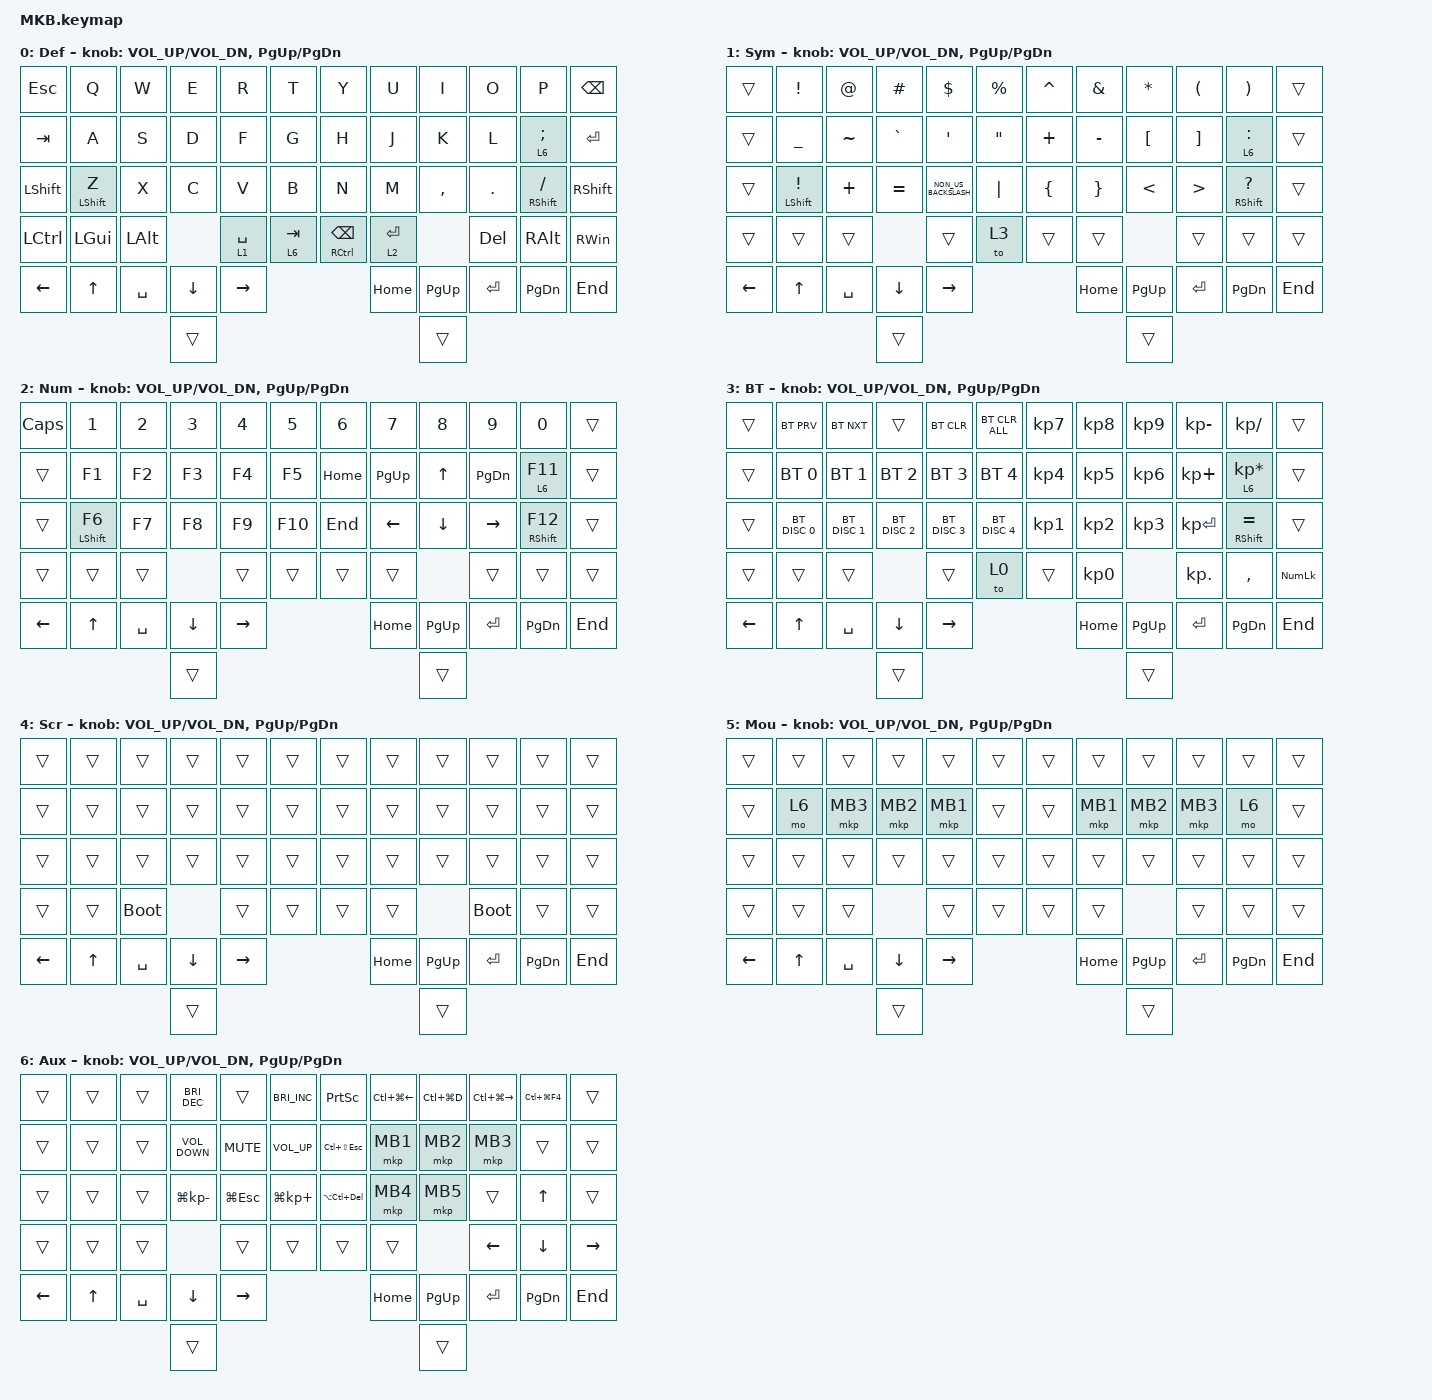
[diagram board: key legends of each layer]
// #include <layout_shift.dtsi>

#include <layout_shift_kp_override.dtsi>
#include <behaviors.dtsi>
#include <dt-bindings/zmk/bt.h>
#include <dt-bindings/zmk/keys.h>
#include <dt-bindings/zmk/pointing.h>

#define DEF 0
#define FUNC 1
#define NUM 2
#define MOUSE 3
#define SCROLL 4
#define BT 5

&mt {
    flavor = "balanced";
    tapping-term-ms = <280>;
    quick-tap-ms = <175>;
    require-prior-idle-ms = <150>;
};

/ {
    combos {
        compatible = "zmk,combos";

        scroll {
            bindings = <&mo 4>;
            key-positions = <20 21>;
        };

        esc {
            bindings = <&kp ESCAPE>;
            key-positions = <1 2>;
        };

        tab {
            bindings = <&kp TAB>;
            key-positions = <13 14>;
        };

        s-tab {
            bindings = <&kp LS(TAB)>;
            key-positions = <26 25>;
        };

        bs {
            bindings = <&kp BACKSPACE>;
            key-positions = <10 9>;
        };

        del {
            bindings = <&kp DELETE>;
            key-positions = <9 8>;
        };

        enter {
            bindings = <&kp ENTER>;
            key-positions = <21 22>;
        };

        eisu {
            bindings = <&kp LANGUAGE_2>;
            key-positions = <15 16>;
        };

        kana {
            bindings = <&kp LANGUAGE_1>;
            key-positions = <20 19>;
        };
    };

    keymap {
        compatible = "zmk,keymap";

        Default {
            label = "Def";
            bindings = <
&kp ESCAPE  &kp Q        &kp W      &kp E     &kp R        &kp T          &kp Y                &kp U        &kp I      &kp O       &kp P             &kp BACKSPACE
&kp TAB     &kp A        &kp S      &kp D     &kp F        &kp G          &kp H                &kp J        &kp K      &kp L       &lt 6 SEMICOLON   &kp ENTER
&kp LSHFT   &mt LSHFT Z  &kp X      &kp C     &kp V        &kp B          &kp N                &kp M        &kp COMMA  &kp DOT     &mt RSHIFT SLASH  &kp RSHFT
&kp LCTRL   &kp LGUI     &kp LALT             &lt 1 SPACE  &lt 6 TAB      &mt RCTRL BACKSPACE  &lt 2 ENTER             &kp DELETE  &kp RIGHT_ALT     &kp RWIN
&kp LEFT    &kp UP       &kp SPACE  &kp DOWN  &kp RIGHT                                        &kp HOME     &kp PG_UP  &kp ENTER   &kp PG_DN         &kp END
                                    &trans                                                                  &trans
            >;

            sensor-bindings = <&inc_dec_kp C_VOL_UP C_VOL_DN &inc_dec_kp PG_UP PG_DN>;
        };

        Symbol {
            label = "Sym";
            bindings = <
&trans    &kp EXCLAMATION        &kp AT_SIGN  &kp HASH   &kp DOLLAR            &kp PERCENT            &kp CARET       &kp AMPERSAND    &kp ASTERISK      &kp LEFT_PARENTHESIS  &kp RIGHT_PARENTHESIS  &trans
&trans    &kp UNDERSCORE         &kp TILDE    &kp GRAVE  &kp SQT               &kp DOUBLE_QUOTES      &kp PLUS        &kp MINUS        &kp LEFT_BRACKET  &kp RIGHT_BRACKET     &lt 6 COLON            &trans
&trans    &mt LSHFT EXCLAMATION  &kp PLUS     &kp EQUAL  &kp NON_US_BACKSLASH  &kp PIPE               &kp LEFT_BRACE  &kp RIGHT_BRACE  &kp LESS_THAN     &kp GREATER_THAN      &mt RSHFT QUESTION     &trans
&trans    &trans                 &trans                  &trans                &to 3                  &trans          &trans                             &trans                &trans                 &trans
&kp LEFT  &kp UP                 &kp SPACE    &kp DOWN   &kp RIGHT                                                    &kp HOME         &kp PG_UP         &kp ENTER             &kp PG_DN              &kp END
                                              &trans                                                                                   &trans
            >;

            sensor-bindings = <&inc_dec_kp C_VOL_UP C_VOL_DN &inc_dec_kp PG_UP PG_DN>;
        };

        Number_Fn {
            label = "Num";
            bindings = <
&kp CAPS  &kp N1         &kp N2     &kp N3    &kp N4     &kp N5       &kp N6    &kp N7          &kp N8        &kp N9         &kp N0         &trans
&trans    &kp F1         &kp F2     &kp F3    &kp F4     &kp F5       &kp HOME  &kp PAGE_UP     &kp UP_ARROW  &kp PAGE_DOWN  &lt 6 F11      &trans
&trans    &mt LSHIFT F6  &kp F7     &kp F8    &kp F9     &kp F10      &kp END   &kp LEFT_ARROW  &kp DOWN      &kp RIGHT      &mt RSHFT F12  &trans
&trans    &trans         &trans               &trans     &trans       &trans    &trans                        &trans         &trans         &trans
&kp LEFT  &kp UP         &kp SPACE  &kp DOWN  &kp RIGHT                         &kp HOME        &kp PG_UP     &kp ENTER      &kp PG_DN      &kp END
                                    &trans                                                      &trans
            >;

            sensor-bindings = <&inc_dec_kp C_VOL_UP C_VOL_DN &inc_dec_kp PG_UP PG_DN>;
        };

        BT_10key {
            label = "BT";
            bindings = <
&trans    &bt BT_PRV     &bt BT_NXT     &trans         &bt BT_CLR     &bt BT_CLR_ALL      &kp KP_NUMBER_7  &kp KP_NUMBER_8  &kp KP_NUMBER_9  &kp KP_MINUS  &kp KP_DIVIDE      &trans
&trans    &bt BT_SEL 0   &bt BT_SEL 1   &bt BT_SEL 2   &bt BT_SEL 3   &bt BT_SEL 4        &kp KP_NUMBER_4  &kp KP_NUMBER_5  &kp KP_NUMBER_6  &kp KP_PLUS   &lt 6 KP_ASTERISK  &trans
&trans    &bt BT_DISC 0  &bt BT_DISC 1  &bt BT_DISC 2  &bt BT_DISC 3  &bt BT_DISC 4       &kp KP_NUMBER_1  &kp KP_NUMBER_2  &kp KP_NUMBER_3  &kp KP_ENTER  &mt RSHFT EQUAL    &trans
&trans    &trans         &trans                        &trans         &to 0               &trans           &kp KP_N0                         &kp KP_DOT    &kp COMMA          &kp KP_NUMLOCK
&kp LEFT  &kp UP         &kp SPACE      &kp DOWN       &kp RIGHT                                           &kp HOME         &kp PG_UP        &kp ENTER     &kp PG_DN          &kp END
                                        &trans                                                                              &trans
            >;

            sensor-bindings = <&inc_dec_kp C_VOL_UP C_VOL_DN &inc_dec_kp PG_UP PG_DN>;
        };

        Scroll {
            label = "Scr";
            bindings = <
&trans    &trans  &trans       &trans    &trans     &trans      &trans  &trans    &trans     &trans       &trans     &trans
&trans    &trans  &trans       &trans    &trans     &trans      &trans  &trans    &trans     &trans       &trans     &trans
&trans    &trans  &trans       &trans    &trans     &trans      &trans  &trans    &trans     &trans       &trans     &trans
&trans    &trans  &bootloader            &trans     &trans      &trans  &trans               &bootloader  &trans     &trans
&kp LEFT  &kp UP  &kp SPACE    &kp DOWN  &kp RIGHT                      &kp HOME  &kp PG_UP  &kp ENTER    &kp PG_DN  &kp END
                               &trans                                             &trans
            >;

            sensor-bindings = <&inc_dec_kp C_VOL_UP C_VOL_DN &inc_dec_kp PG_UP PG_DN>;
        };

        Mouse {
            label = "Mou";
            bindings = <
&trans    &trans  &trans     &trans    &trans     &trans      &trans  &trans    &trans     &trans     &trans     &trans
&trans    &mo 6   &mkp MB3   &mkp MB2  &mkp MB1   &trans      &trans  &mkp MB1  &mkp MB2   &mkp MB3   &mo 6      &trans
&trans    &trans  &trans     &trans    &trans     &trans      &trans  &trans    &trans     &trans     &trans     &trans
&trans    &trans  &trans               &trans     &trans      &trans  &trans               &trans     &trans     &trans
&kp LEFT  &kp UP  &kp SPACE  &kp DOWN  &kp RIGHT                      &kp HOME  &kp PG_UP  &kp ENTER  &kp PG_DN  &kp END
                             &trans                                             &trans
            >;

            sensor-bindings = <&inc_dec_kp C_VOL_UP C_VOL_DN &inc_dec_kp PG_UP PG_DN>;
        };

        Auxiliary {
            label = "Aux";
            bindings = <
&trans    &trans  &trans     &kp C_BRIGHTNESS_DEC  &trans          &kp C_BRIGHTNESS_INC      &kp PRINTSCREEN     &kp LC(LG(LEFT))  &kp LC(LG(D))  &kp LC(LG(RIGHT))  &kp LC(LG(F4))  &trans
&trans    &trans  &trans     &kp C_VOLUME_DOWN     &kp C_MUTE      &kp C_VOLUME_UP           &kp LC(LS(ESCAPE))  &mkp MB1          &mkp MB2       &mkp MB3           &trans          &trans
&trans    &trans  &trans     &kp LG(KP_SUBTRACT)   &kp LG(ESCAPE)  &kp LG(KP_PLUS)           &kp LA(LC(DELETE))  &mkp MB4          &mkp MB5       &trans             &kp UP_ARROW    &trans
&trans    &trans  &trans                           &trans          &trans                    &trans              &trans                           &kp LEFT_ARROW     &kp DOWN_ARROW  &kp RIGHT
&kp LEFT  &kp UP  &kp SPACE  &kp DOWN              &kp RIGHT                                                     &kp HOME          &kp PG_UP      &kp ENTER          &kp PG_DN       &kp END
                             &trans                                                                                                &trans
            >;

            sensor-bindings =
                <&inc_dec_kp C_VOL_UP C_VOL_DN>,
                <&inc_dec_kp PG_UP PG_DN>;
        };
    };
};
